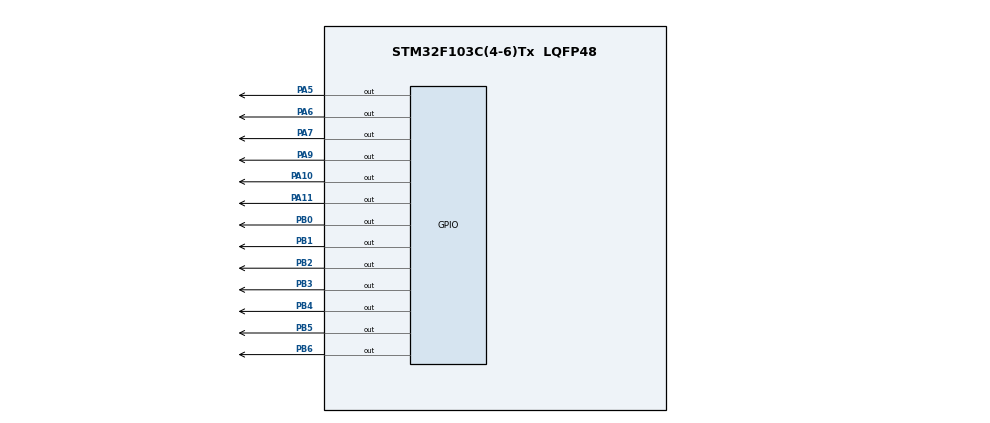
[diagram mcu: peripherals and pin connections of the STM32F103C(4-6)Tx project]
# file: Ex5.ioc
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Mcu.Family=STM32F1
Mcu.Name=STM32F103C(4-6)Tx
Mcu.Package=LQFP48
NVIC.PriorityGroup=NVIC_PRIORITYGROUP_4
PA10.Signal=GPIO_Output
PA11.Signal=GPIO_Output
PA5.Signal=GPIO_Output
PA6.Signal=GPIO_Output
PA7.Signal=GPIO_Output
PA9.Signal=GPIO_Output
PB0.Signal=GPIO_Output
PB1.Signal=GPIO_Output
PB2.Signal=GPIO_Output
PB3.Signal=GPIO_Output
PB4.Signal=GPIO_Output
PB5.Signal=GPIO_Output
PB6.Signal=GPIO_Output
ProjectManager.HeapSize=0x200
ProjectManager.StackSize=0x400
ProjectManager.TargetToolchain=STM32CubeIDE
RCC.APB1Freq_Value=8000000
RCC.APB2Freq_Value=8000000
board=custom

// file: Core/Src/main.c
/* USER CODE BEGIN Header */
/**
  ******************************************************************************
  * @file           : main.c
  * @brief          : Main program body
  ******************************************************************************
  * @attention
  *
  * Copyright (c) 2023 STMicroelectronics.
  * All rights reserved.
  *
  * This software is licensed under terms that can be found in the LICENSE file
  * in the root directory of this software component.
  * If no LICENSE file comes with this software, it is provided AS-IS.
  *
  ******************************************************************************
  */
/* USER CODE END Header */
#include "main.h"

void SystemClock_Config(void);
static void MX_GPIO_Init(void);

/* USER CODE BEGIN 0 */

// Define the pins for each segment (PB0 to PB6)
const uint8_t sevenSegPatterns[10] = {
    0b00111111, // 0
    0b00000110, // 1
    0b01011011, // 2
    0b01001111, // 3
    0b01100110, // 4
    0b01101101, // 5
    0b01111101, // 6
    0b00000111, // 7
    0b01111111, // 8
    0b01101111  // 9
};

void display7SEG(int digit) {
    // Set the appropriate pins based on the digit pattern
    HAL_GPIO_WritePin(GPIOB, GPIO_PIN_0, ((sevenSegPatterns[digit] >> 0) & 1) ^ 1);
    HAL_GPIO_WritePin(GPIOB, GPIO_PIN_1, ((sevenSegPatterns[digit] >> 1) & 1) ^ 1);
    HAL_GPIO_WritePin(GPIOB, GPIO_PIN_2, ((sevenSegPatterns[digit] >> 2) & 1) ^ 1);
    HAL_GPIO_WritePin(GPIOB, GPIO_PIN_3, ((sevenSegPatterns[digit] >> 3) & 1) ^ 1);
    HAL_GPIO_WritePin(GPIOB, GPIO_PIN_4, ((sevenSegPatterns[digit] >> 4) & 1) ^ 1);
    HAL_GPIO_WritePin(GPIOB, GPIO_PIN_5, ((sevenSegPatterns[digit] >> 5) & 1) ^ 1);
    HAL_GPIO_WritePin(GPIOB, GPIO_PIN_6, ((sevenSegPatterns[digit] >> 6) & 1) ^ 1);
}

/* USER CODE END 0 */

int main(void)
{

  /* MCU Configuration--------------------------------------------------------*/

  /* Reset of all peripherals, Initializes the Flash interface and the Systick. */
  HAL_Init();

  /* Configure the system clock */
  SystemClock_Config();

  /* Initialize all configured peripherals */
  MX_GPIO_Init();

  /* Infinite loop */

  HAL_GPIO_WritePin(GPIOA, GPIO_PIN_5, 0);
  HAL_GPIO_WritePin(GPIOA, GPIO_PIN_6, 0);
  HAL_GPIO_WritePin(GPIOA, GPIO_PIN_7, 0);
  HAL_GPIO_WritePin(GPIOA, GPIO_PIN_9, 0);
  HAL_GPIO_WritePin(GPIOA, GPIO_PIN_10, 0);
  HAL_GPIO_WritePin(GPIOA, GPIO_PIN_11, 0);

  enum TrafficLightState {
      RED1_GREEN2,
      RED1_YELLOW2,
      GREEN1_RED2,
      YELLOW1_RED2,
  };

  // Initialize the current state of the traffic light
  int counter = 3;
  int light = 5;
  enum TrafficLightState currentState = RED1_GREEN2;

  /* USER CODE BEGIN WHILE */
  while (1)
  {
	  display7SEG(light);

	  switch (currentState) {

		  case RED1_GREEN2:
			  HAL_GPIO_WritePin(GPIOA, GPIO_PIN_6, 0);	  //turn off TraffigLights(YELLOW1);
			  HAL_GPIO_WritePin(GPIOA, GPIO_PIN_9, 0);	  //turn off TraffigLights(RED2);

			  HAL_GPIO_WritePin(GPIOA, GPIO_PIN_5, 1);	  //turn on TraffigLights(RED1);
			  HAL_GPIO_WritePin(GPIOA, GPIO_PIN_11, 1);	  //turn on TraffigLights(GREEN2);
			  counter--;
			  light--;

			  if (counter <= 0) {
				  currentState = RED1_YELLOW2;
				  counter = 2;
			  }
			  break;

		  case RED1_YELLOW2:
			  HAL_GPIO_WritePin(GPIOA, GPIO_PIN_11, 0);	  //turn off TraffigLights(GREEN2);

			  HAL_GPIO_WritePin(GPIOA, GPIO_PIN_5, 1);	  //turn on TraffigLights(RED1);
			  HAL_GPIO_WritePin(GPIOA, GPIO_PIN_10, 1);	  //turn on TraffigLights(YELLOW2);
			  counter--;
			  light--;

			  if (counter <= 0) {
				  currentState = GREEN1_RED2;
				  counter = 3;
				  light = 3;
			  }
			  break;

		  case GREEN1_RED2:
			  HAL_GPIO_WritePin(GPIOA, GPIO_PIN_5, 0);	  //turn off TraffigLights(RED1);
			  HAL_GPIO_WritePin(GPIOA, GPIO_PIN_10, 0);	  //turn off TraffigLights(YELLOW2);

			  HAL_GPIO_WritePin(GPIOA, GPIO_PIN_7, 1);	  //turn on TraffigLights(GREEN1);
			  HAL_GPIO_WritePin(GPIOA, GPIO_PIN_9, 1);	  //turn on TraffigLights(RED2);
			  counter--;
			  light--;

			  if (counter <= 0) {
				  currentState = YELLOW1_RED2;
				  counter = 2;
				  light = 2;
			  }
			  break;

		  case YELLOW1_RED2:
			  HAL_GPIO_WritePin(GPIOA, GPIO_PIN_7, 0);	  //turn off TraffigLights(GREEN1);

			  HAL_GPIO_WritePin(GPIOA, GPIO_PIN_6, 1);	  //turnonTraffigLights(YELLOW1);
			  HAL_GPIO_WritePin(GPIOA, GPIO_PIN_9, 1);	  //turnonTraffigLights(RED2);
			  counter--;
			  light--;

			  if (counter <= 0) {
				  currentState = RED1_GREEN2;
				  counter = 3;
				  light = 5;
			  }
			  break;
	  }

	  HAL_Delay(1000);

    /* USER CODE END WHILE */

  }
}

void SystemClock_Config(void)
{
  RCC_OscInitTypeDef RCC_OscInitStruct = {0};
  RCC_ClkInitTypeDef RCC_ClkInitStruct = {0};

  /** Initializes the RCC Oscillators according to the specified parameters
  * in the RCC_OscInitTypeDef structure.
  */
  RCC_OscInitStruct.OscillatorType = RCC_OSCILLATORTYPE_HSI;
  RCC_OscInitStruct.HSIState = RCC_HSI_ON;
  RCC_OscInitStruct.HSICalibrationValue = RCC_HSICALIBRATION_DEFAULT;
  RCC_OscInitStruct.PLL.PLLState = RCC_PLL_NONE;
  if (HAL_RCC_OscConfig(&RCC_OscInitStruct) != HAL_OK)
  {
    Error_Handler();
  }

  /** Initializes the CPU, AHB and APB buses clocks
  */
  RCC_ClkInitStruct.ClockType = RCC_CLOCKTYPE_HCLK|RCC_CLOCKTYPE_SYSCLK
                              |RCC_CLOCKTYPE_PCLK1|RCC_CLOCKTYPE_PCLK2;
  RCC_ClkInitStruct.SYSCLKSource = RCC_SYSCLKSOURCE_HSI;
  RCC_ClkInitStruct.AHBCLKDivider = RCC_SYSCLK_DIV1;
  RCC_ClkInitStruct.APB1CLKDivider = RCC_HCLK_DIV1;
  RCC_ClkInitStruct.APB2CLKDivider = RCC_HCLK_DIV1;

  if (HAL_RCC_ClockConfig(&RCC_ClkInitStruct, FLASH_LATENCY_0) != HAL_OK)
  {
    Error_Handler();
  }
}

static void MX_GPIO_Init(void)
{
  GPIO_InitTypeDef GPIO_InitStruct = {0};

  /* GPIO Ports Clock Enable */
  __HAL_RCC_GPIOA_CLK_ENABLE();
  __HAL_RCC_GPIOB_CLK_ENABLE();

  /*Configure GPIO pin Output Level */
  HAL_GPIO_WritePin(GPIOA, GPIO_PIN_5|GPIO_PIN_6|GPIO_PIN_7|GPIO_PIN_9
                          |GPIO_PIN_10|GPIO_PIN_11, GPIO_PIN_RESET);

  /*Configure GPIO pin Output Level */
  HAL_GPIO_WritePin(GPIOB, GPIO_PIN_0|GPIO_PIN_1|GPIO_PIN_2|GPIO_PIN_3
                          |GPIO_PIN_4|GPIO_PIN_5|GPIO_PIN_6, GPIO_PIN_RESET);

  /*Configure GPIO pins : PA5 PA6 PA7 PA9
                           PA10 PA11 */
  GPIO_InitStruct.Pin = GPIO_PIN_5|GPIO_PIN_6|GPIO_PIN_7|GPIO_PIN_9
                          |GPIO_PIN_10|GPIO_PIN_11;
  GPIO_InitStruct.Mode = GPIO_MODE_OUTPUT_PP;
  GPIO_InitStruct.Pull = GPIO_NOPULL;
  GPIO_InitStruct.Speed = GPIO_SPEED_FREQ_LOW;
  HAL_GPIO_Init(GPIOA, &GPIO_InitStruct);

  /*Configure GPIO pins : PB0 PB1 PB2 PB3
                           PB4 PB5 PB6 */
  GPIO_InitStruct.Pin = GPIO_PIN_0|GPIO_PIN_1|GPIO_PIN_2|GPIO_PIN_3
                          |GPIO_PIN_4|GPIO_PIN_5|GPIO_PIN_6;
  GPIO_InitStruct.Mode = GPIO_MODE_OUTPUT_PP;
  GPIO_InitStruct.Pull = GPIO_NOPULL;
  GPIO_InitStruct.Speed = GPIO_SPEED_FREQ_LOW;
  HAL_GPIO_Init(GPIOB, &GPIO_InitStruct);

}

void Error_Handler(void)
{
  __disable_irq();
  while (1)
  {
  }
}
